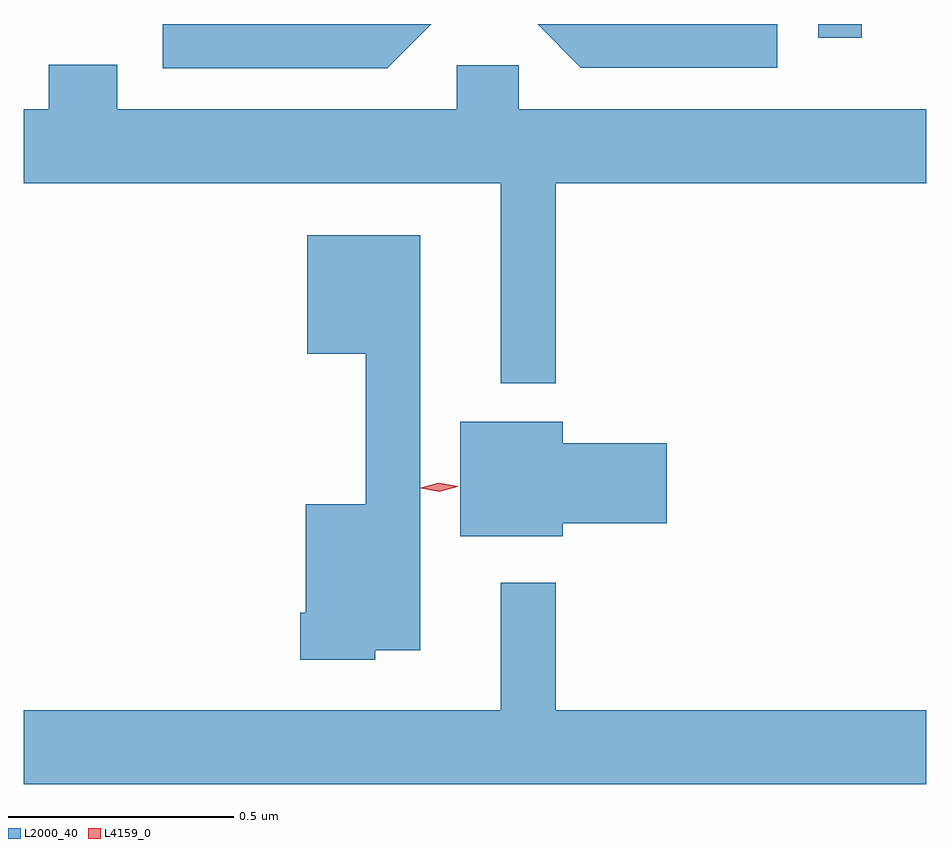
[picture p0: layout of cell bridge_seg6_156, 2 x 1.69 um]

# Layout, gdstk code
import gdstk
lib = gdstk.Library(unit=1e-6, precision=1e-09)
def R(c, l, rs):  # rectangles x0, y0, x1, y1
    for r in rs: c.add(gdstk.rectangle(r[:2], r[2:], *l))
def P(c, l, *ps):  # polygons
    for p in ps: c.add(gdstk.Polygon(p, *l))
L2000_40 = (2000, 40)
L4159_0 = (4159, 0)

bridge_seg6_156 = lib.new_cell('bridge_seg6_156')
R(bridge_seg6_156, L2000_40, [(605.611,940.998,605.707,941.029)])
P(bridge_seg6_156, L2000_40, [(604.753,941.029),(603.85,941.029),(603.85,941.028),(604.158,941.028),(604.158,940.931),(604.655,940.931)],
  [(605.52,941.029),(605.424,941.029),(605.424,941.028),(605.121,941.028),(605.12,941.029),(604.871,941.029),(604.871,941.028),(604.989,941.028),(605.085,940.932),(605.52,940.932)],
  [(605.029,940.676),(605.85,940.676),(605.85,940.84),(604.947,940.84),(604.947,940.938),(604.809,940.938),(604.809,940.84),(604.057,940.84),(604.057,940.939),(603.905,940.939),(603.905,940.84),(603.85,940.84),(603.85,940.676),(604.907,940.676),(604.907,940.232),(605.029,940.232)],
  [(604.629,939.641),(604.729,939.641),(604.729,940.561),(604.478,940.561),(604.478,940.298),(604.608,940.298),(604.608,939.964),(604.475,939.964),(604.475,939.724),(604.463,939.724),(604.463,939.62),(604.629,939.62)],
  [(605.044,939.922),(605.275,939.922),(605.275,940.1),(605.044,940.1),(605.044,940.147),(604.817,940.147),(604.817,939.893),(605.044,939.893)],
  [(605.85,939.508),(605.029,939.508),(605.029,939.79),(604.907,939.79),(604.907,939.508),(603.85,939.508),(603.85,939.344),(605.85,939.344)])
P(bridge_seg6_156, L4159_0, [(604.771,939.992),(604.73,940),(604.73,940),(604.73,940.001),(604.77,940.012),(604.812,940.004),(604.812,940.003),(604.812,940.003)])

lib.write_gds('bridge_seg6_156.gds')
